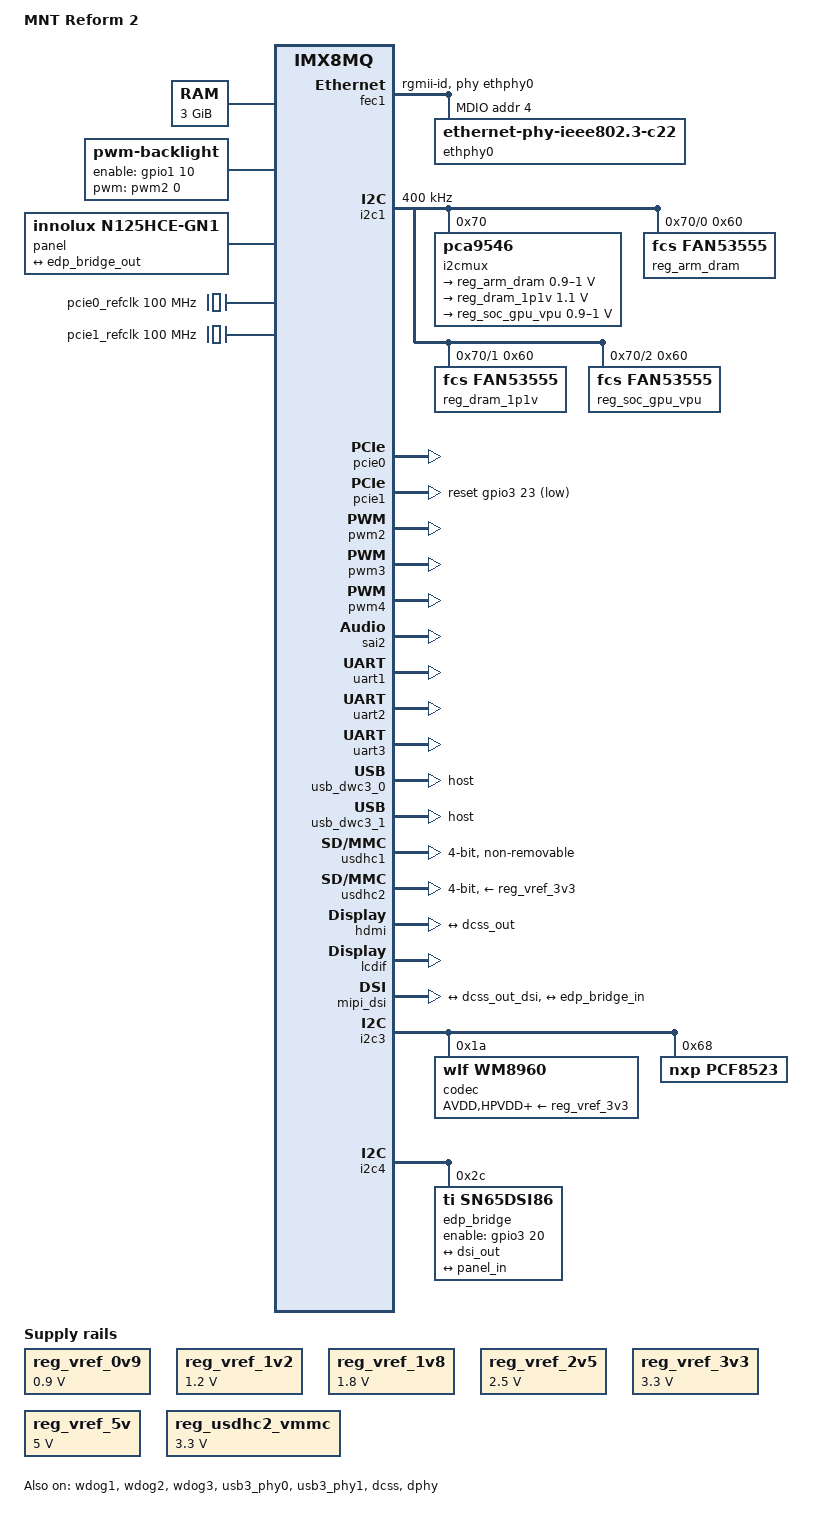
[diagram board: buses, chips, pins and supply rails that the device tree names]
// SPDX-License-Identifier: (GPL-2.0+ OR MIT)
/*
 * Copyright 2018 Boundary Devices
 * Copyright 2019-2020 MNT Research GmbH
 */

/dts-v1/;

#include <dt-bindings/input/input.h>
#include <dt-bindings/pwm/pwm.h>
#include <dt-bindings/usb/pd.h>
#include <dt-bindings/gpio/gpio.h>
#include <dt-bindings/leds/common.h>
#include "imx8mq.dtsi"

/ {
	model = "MNT Reform 2";
	compatible = "boundary,imx8mq-nitrogen8m_som", "fsl,imx8mq";

	memory@40000000 {
		device_type = "memory";
		reg = <0x00000000 0x40000000 0 0xc0000000>;
	};

	sound {
		compatible = "simple-audio-card";
		simple-audio-card,name = "wm8960-audio";
		simple-audio-card,format = "i2s";
		simple-audio-card,frame-master = <&dai_cpu_master>;
		simple-audio-card,bitclock-master = <&dai_cpu_master>;

		status = "okay";

		simple-audio-card,widgets =
			"Microphone", "Mic Jack",
			"Line", "Line In",
			"Line", "Line Out",
			"Speaker", "Speaker",
			"Headphone", "Headphone Jack";
		simple-audio-card,routing =
			"Headphone Jack", "HP_L",
			"Headphone Jack", "HP_R",
			"Speaker", "SPK_LP",
			"Speaker", "SPK_LN",
			"Speaker", "SPK_RP",
			"Speaker", "SPK_RN",
			"LINPUT1", "Mic Jack",
			"LINPUT3", "Mic Jack",
			"RINPUT1", "Mic Jack",
			"RINPUT2", "Mic Jack";

		dai_cpu_master: simple-audio-card,cpu {
			sound-dai = <&sai2>;
		};

		dailink0: simple-audio-card,codec {
			sound-dai = <&codec>;
		};
	};

	backlight: backlight {
		compatible = "pwm-backlight";
		pwms = <&pwm2 0 10000>;
		enable-gpios = <&gpio1 10 GPIO_ACTIVE_HIGH>;
		brightness-levels = <0 32 64 128 160 200 255>;
		default-brightness-level = <6>;
		status = "okay";
	};

	panel: panel {
		compatible = "innolux,n125hce-gn1", "simple-panel";
		// FIXME: why not?
		//backlight = <&backlight>;
		status = "okay";
		no-hpd;
		power = <&reg_vref_3v3>;

		port@0 {
			panel_in: endpoint {
				remote-endpoint = <&edp_bridge_out>;
			};
		};
	};
	
	reg_vref_0v9: regulator-vref-0v9 {
		compatible = "regulator-fixed";
		regulator-name = "vref-0v9";
		regulator-min-microvolt = <900000>;
		regulator-max-microvolt = <900000>;
		regulator-always-on;
	};

	reg_vref_1v2: regulator-vref-1v2 {
		compatible = "regulator-fixed";
		regulator-name = "vref-1v2";
		regulator-min-microvolt = <1200000>;
		regulator-max-microvolt = <1200000>;
		regulator-always-on;
	};
	
	reg_vref_1v8: regulator-vref-1v8 {
		compatible = "regulator-fixed";
		regulator-name = "vref-1v8";
		regulator-min-microvolt = <1800000>;
		regulator-max-microvolt = <1800000>;
		regulator-always-on;
	};

	reg_vref_2v5: regulator-vref-2v5 {
		compatible = "regulator-fixed";
		regulator-name = "vref-2v5";
		regulator-min-microvolt = <2500000>;
		regulator-max-microvolt = <2500000>;
		regulator-always-on;
	};

	reg_vref_3v3: regulator-vref-3v3 {
		compatible = "regulator-fixed";
		regulator-name = "vref-3v3";
		regulator-min-microvolt = <3300000>;
		regulator-max-microvolt = <3300000>;
		regulator-always-on;
	};

	reg_vref_5v: regulator-vref-5v {
		compatible = "regulator-fixed";
		regulator-name = "vref-5v";
		regulator-min-microvolt = <5000000>;
		regulator-max-microvolt = <5000000>;
		regulator-always-on;
	};

	reg_usdhc2_vmmc: regulator-vsd-3v3 {
		pinctrl-names = "default";
		compatible = "regulator-fixed";
		regulator-name = "3V3_SD";
		regulator-min-microvolt = <3300000>;
		regulator-max-microvolt = <3300000>;
		regulator-always-on;
	};
	
	pcie0_refclk: pcie0-refclk {
		compatible = "fixed-clock";
		#clock-cells = <0>;
		clock-frequency = <100000000>;
	};

	pcie1_refclk: pcie1-refclk {
		compatible = "fixed-clock";
		#clock-cells = <0>;
		clock-frequency = <100000000>;
	};

	/*usb_hub_reset {
		compatible = "gpio-leds";
		status = "okay";

		// The TUSB8041 USB Hub on the motherboard needs to get
		// a reset pulse at boot. This is what we do here (200ms).
		led-0 {
			function = LED_FUNCTION_BOOT;
			linux,default-trigger = "one-shot";
			led-pattern = "0 200";
			gpios = <&gpio1 14 GPIO_ACTIVE_LOW>;
		};
	};*/
};

&iomuxc {
	pinctrl-names = "default";
	pinctrl-0 = <&pinctrl_hog>;

	pinctrl_hog: hoggrp {
		fsl,pins = <
		//MX8MQ_IOMUXC_GPIO1_IO10_GPIO1_IO10		0x19	/* Pin 105 */
		MX8MQ_IOMUXC_SAI5_RXC_GPIO3_IO20		0x19 // FIXME what's this?
		MX8MQ_IOMUXC_GPIO1_IO14_GPIO1_IO14		0x56 // pullup usb hub reset (0x40)
		>;
	};

	pinctrl_fec1: fec1grp {
		fsl,pins = <
			MX8MQ_IOMUXC_ENET_MDC_ENET1_MDC			0x3
			MX8MQ_IOMUXC_ENET_MDIO_ENET1_MDIO		0x23
			MX8MQ_IOMUXC_ENET_TX_CTL_ENET1_RGMII_TX_CTL	0x1f
			MX8MQ_IOMUXC_ENET_TXC_ENET1_RGMII_TXC		0x1f
			MX8MQ_IOMUXC_ENET_TD0_ENET1_RGMII_TD0		0x1f
			MX8MQ_IOMUXC_ENET_TD1_ENET1_RGMII_TD1		0x1f
			MX8MQ_IOMUXC_ENET_TD2_ENET1_RGMII_TD2		0x1f
			MX8MQ_IOMUXC_ENET_TD3_ENET1_RGMII_TD3		0x1f
			MX8MQ_IOMUXC_ENET_RX_CTL_ENET1_RGMII_RX_CTL	0x91
			MX8MQ_IOMUXC_ENET_RXC_ENET1_RGMII_RXC		0x91
			MX8MQ_IOMUXC_ENET_RD0_ENET1_RGMII_RD0		0x91
			MX8MQ_IOMUXC_ENET_RD1_ENET1_RGMII_RD1		0x91
			MX8MQ_IOMUXC_ENET_RD2_ENET1_RGMII_RD2		0x91
			MX8MQ_IOMUXC_ENET_RD3_ENET1_RGMII_RD3		0x91
#define GP_FEC1_RESET	<&gpio1 9 GPIO_ACTIVE_LOW>
			MX8MQ_IOMUXC_GPIO1_IO09_GPIO1_IO9		0x19
#define GPIRQ_FEC1_PHY	<&gpio1 11 IRQ_TYPE_LEVEL_LOW>
			MX8MQ_IOMUXC_GPIO1_IO11_GPIO1_IO11		0x59
		>;
	};

	pinctrl_i2c1: i2c1grp {
		fsl,pins = <
			MX8MQ_IOMUXC_I2C1_SCL_I2C1_SCL			0x4000007f
			MX8MQ_IOMUXC_I2C1_SDA_I2C1_SDA			0x4000007f
		>;
	};
	
	pinctrl_i2c1_pca9546: i2c1-pca9546grp {
		fsl,pins = <
#define GP_I2C1_PCA9546_RESET	<&gpio1 4 GPIO_ACTIVE_LOW>
			MX8MQ_IOMUXC_GPIO1_IO04_GPIO1_IO4		0x46
		>;
	};

	pinctrl_i2c2: i2c2grp {
		fsl,pins = <
			MX8MQ_IOMUXC_I2C2_SCL_I2C2_SCL			0x4000007f
			MX8MQ_IOMUXC_I2C2_SDA_I2C2_SDA			0x4000007f
		>;
	};

	pinctrl_i2c3: i2c3grp {
		fsl,pins = <
			MX8MQ_IOMUXC_I2C3_SCL_I2C3_SCL			0x4000007f
			MX8MQ_IOMUXC_I2C3_SDA_I2C3_SDA			0x4000007f
		>;
	};

	pinctrl_i2c4: i2c4grp {
		fsl,pins = <
			MX8MQ_IOMUXC_I2C4_SCL_I2C4_SCL			0x4000007f
			MX8MQ_IOMUXC_I2C4_SDA_I2C4_SDA			0x4000007f
		>;
	};

	pinctrl_pcie0: pcie0grp {
		fsl,pins = <
#define GP_PCIE0_RESET		<&gpio5 7 GPIO_ACTIVE_LOW>
			MX8MQ_IOMUXC_ECSPI1_MOSI_GPIO5_IO7		0x16
		>;
	};
	
	pinctrl_pcie1: pcie1grp {
		fsl,pins = <
			MX8MQ_IOMUXC_SAI5_RXD2_GPIO3_IO23		0x16
		>;
	};

	pinctrl_pwm2: pwm2grp {
		fsl,pins = <
			MX8MQ_IOMUXC_SPDIF_RX_PWM2_OUT			0x16
		>;
	};

	pinctrl_pwm3: pwm3grp {
		fsl,pins = <
			MX8MQ_IOMUXC_SPDIF_TX_PWM3_OUT			0x16
		>;
	};

	pinctrl_pwm4: pwm4grp {
		fsl,pins = <
			MX8MQ_IOMUXC_SAI3_MCLK_PWM4_OUT			0x16
		>;
	};

	pinctrl_reg_arm_dram: reg-arm-dram {
		fsl,pins = <
#define GP_ARM_DRAM_VSEL	<&gpio3 24 GPIO_ACTIVE_HIGH>
			MX8MQ_IOMUXC_SAI5_RXD3_GPIO3_IO24		0x16
		>;
	};

	pinctrl_reg_dram_1p1v: reg-dram-1p1v {
		fsl,pins = <
#define GP_DRAM_1P1_VSEL	<&gpio2 11 GPIO_ACTIVE_HIGH>
			MX8MQ_IOMUXC_SD1_STROBE_GPIO2_IO11		0x16
		>;
	};

	pinctrl_reg_soc_gpu_vpu: reg-soc-gpu-vpu {
		fsl,pins = <
#define GP_SOC_GPU_VPU_VSEL	<&gpio2 20 GPIO_ACTIVE_HIGH>
			MX8MQ_IOMUXC_SD2_WP_GPIO2_IO20			0x16
		>;
	};

	/*pinctrl_sai1: sai1grp {
		fsl,pins = <
			MX8MQ_IOMUXC_SAI1_MCLK_SAI1_MCLK		0xd6
			MX8MQ_IOMUXC_SAI1_TXFS_SAI1_TX_SYNC		0xd6
			MX8MQ_IOMUXC_SAI1_TXC_SAI1_TX_BCLK		0xd6
			MX8MQ_IOMUXC_SAI1_TXD0_SAI1_TX_DATA0		0xd6
			MX8MQ_IOMUXC_SAI1_RXD0_SAI1_RX_DATA0		0xd6
		>;
	};*/

	pinctrl_sai2: sai2grp {
		fsl,pins = <
			MX8MQ_IOMUXC_SAI2_RXD0_SAI2_RX_DATA0		0xd6	/* Pin 166 */
			MX8MQ_IOMUXC_SAI2_RXFS_SAI2_RX_SYNC		0xd6	/* Pin 168 */
			MX8MQ_IOMUXC_SAI2_TXC_SAI2_TX_BCLK		0xd6	/* Pin 170 */
			MX8MQ_IOMUXC_SAI2_TXFS_SAI2_TX_SYNC		0xd6	/* Pin 172 */
			MX8MQ_IOMUXC_SAI2_RXC_SAI2_RX_BCLK		0xd6	/* Pin 174 */
			MX8MQ_IOMUXC_SAI2_MCLK_SAI2_MCLK		0xd6	/* Pin 176 */
			MX8MQ_IOMUXC_SAI2_TXD0_SAI2_TX_DATA0		0xd6	/* Pin 168 */
		>;
	};

	pinctrl_sai3: sai3grp {
		fsl,pins = <
			/* Bluetooth PCM */
			MX8MQ_IOMUXC_SAI3_TXFS_SAI3_TX_SYNC		0xd6
			MX8MQ_IOMUXC_SAI3_TXC_SAI3_TX_BCLK		0xd6
			MX8MQ_IOMUXC_SAI3_TXD_SAI3_TX_DATA0		0xd6
			MX8MQ_IOMUXC_SAI3_RXD_SAI3_RX_DATA0		0xd6
		>;
	};

	pinctrl_uart1: uart1grp {
		fsl,pins = <
			MX8MQ_IOMUXC_UART1_RXD_UART1_DCE_RX		0x45
			MX8MQ_IOMUXC_UART1_TXD_UART1_DCE_TX		0x45
		>;
	};

	pinctrl_uart2: uart2grp {
		fsl,pins = <
			MX8MQ_IOMUXC_UART2_RXD_UART2_DCE_RX		0x45
			MX8MQ_IOMUXC_UART2_TXD_UART2_DCE_TX		0x45
		>;
	};

	pinctrl_uart3: uart3grp {
		fsl,pins = <
			MX8MQ_IOMUXC_UART3_RXD_UART3_DCE_RX		0x45
			MX8MQ_IOMUXC_UART3_TXD_UART3_DCE_TX		0x45
			MX8MQ_IOMUXC_ECSPI1_SS0_UART3_DCE_RTS_B		0x45
			MX8MQ_IOMUXC_ECSPI1_MISO_UART3_DCE_CTS_B	0x45
		>;
	};

	pinctrl_uart4: uart4grp {
		fsl,pins = <
			MX8MQ_IOMUXC_UART4_RXD_UART4_DCE_RX		0x45
			MX8MQ_IOMUXC_UART4_TXD_UART4_DCE_TX		0x45
		>;
	};

	/*pinctrl_usb3_0: usb3-0grp {
		fsl,pins = <
			MX8MQ_IOMUXC_GPIO1_IO13_USB1_OTG_OC		0x16
		>;
	};

	pinctrl_usb3_1: usb3-1grp {
		fsl,pins = <
#define GP_USB3_1_HUB_RESET	<&gpio1 14 GPIO_ACTIVE_LOW>
			MX8MQ_IOMUXC_GPIO1_IO14_GPIO1_IO14		0x16
		>;
	};*/

	pinctrl_usdhc1: usdhc1grp {
		fsl,pins = <
			MX8MQ_IOMUXC_SD1_CLK_USDHC1_CLK			0x83
			MX8MQ_IOMUXC_SD1_CMD_USDHC1_CMD			0xc3
			MX8MQ_IOMUXC_SD1_DATA0_USDHC1_DATA0		0xc3
			MX8MQ_IOMUXC_SD1_DATA1_USDHC1_DATA1		0xc3
			MX8MQ_IOMUXC_SD1_DATA2_USDHC1_DATA2		0xc3
			MX8MQ_IOMUXC_SD1_DATA3_USDHC1_DATA3		0xc3
			MX8MQ_IOMUXC_SD1_DATA4_USDHC1_DATA4		0xc3
			MX8MQ_IOMUXC_SD1_DATA5_USDHC1_DATA5		0xc3
			MX8MQ_IOMUXC_SD1_DATA6_USDHC1_DATA6		0xc3
			MX8MQ_IOMUXC_SD1_DATA7_USDHC1_DATA7		0xc3
#if 0
			MX8MQ_IOMUXC_SD1_RESET_B_USDHC1_RESET_B		0xc1
#else
#define GP_EMMC_RESET		<&gpio2 10 GPIO_ACTIVE_LOW>
			MX8MQ_IOMUXC_SD1_RESET_B_GPIO2_IO10		0x41
#endif
		>;
	};

	pinctrl_usdhc1_100mhz: usdhc1grp100mhz {
		fsl,pins = <
			MX8MQ_IOMUXC_SD1_CLK_USDHC1_CLK			0x8d
			MX8MQ_IOMUXC_SD1_CMD_USDHC1_CMD			0xcd
			MX8MQ_IOMUXC_SD1_DATA0_USDHC1_DATA0		0xcd
			MX8MQ_IOMUXC_SD1_DATA1_USDHC1_DATA1		0xcd
			MX8MQ_IOMUXC_SD1_DATA2_USDHC1_DATA2		0xcd
			MX8MQ_IOMUXC_SD1_DATA3_USDHC1_DATA3		0xcd
			MX8MQ_IOMUXC_SD1_DATA4_USDHC1_DATA4		0xcd
			MX8MQ_IOMUXC_SD1_DATA5_USDHC1_DATA5		0xcd
			MX8MQ_IOMUXC_SD1_DATA6_USDHC1_DATA6		0xcd
			MX8MQ_IOMUXC_SD1_DATA7_USDHC1_DATA7		0xcd
		>;
	};

	pinctrl_usdhc1_200mhz: usdhc1grp200mhz {
		fsl,pins = <
			MX8MQ_IOMUXC_SD1_CLK_USDHC1_CLK			0x9f
			MX8MQ_IOMUXC_SD1_CMD_USDHC1_CMD			0xdf
			MX8MQ_IOMUXC_SD1_DATA0_USDHC1_DATA0		0xdf
			MX8MQ_IOMUXC_SD1_DATA1_USDHC1_DATA1		0xdf
			MX8MQ_IOMUXC_SD1_DATA2_USDHC1_DATA2		0xdf
			MX8MQ_IOMUXC_SD1_DATA3_USDHC1_DATA3		0xdf
			MX8MQ_IOMUXC_SD1_DATA4_USDHC1_DATA4		0xdf
			MX8MQ_IOMUXC_SD1_DATA5_USDHC1_DATA5		0xdf
			MX8MQ_IOMUXC_SD1_DATA6_USDHC1_DATA6		0xdf
			MX8MQ_IOMUXC_SD1_DATA7_USDHC1_DATA7		0xdf
		>;
	};

	pinctrl_usdhc2: usdhc2grp {
		fsl,pins = <
			MX8MQ_IOMUXC_SD2_CLK_USDHC2_CLK			0x03
			MX8MQ_IOMUXC_SD2_CMD_USDHC2_CMD			0xc3
			MX8MQ_IOMUXC_SD2_DATA0_USDHC2_DATA0		0xc3
			MX8MQ_IOMUXC_SD2_DATA1_USDHC2_DATA1		0xc3
			MX8MQ_IOMUXC_SD2_DATA2_USDHC2_DATA2		0xc3
			MX8MQ_IOMUXC_SD2_DATA3_USDHC2_DATA3		0xc3
			//MX8MQ_IOMUXC_GPIO1_IO00_ANAMIX_REF_CLK_32K	0x03
		>;
	};

	pinctrl_usdhc2_100mhz: usdhc2grp100mhz {
		fsl,pins = <
			MX8MQ_IOMUXC_SD2_CLK_USDHC2_CLK			0x0d
			MX8MQ_IOMUXC_SD2_CMD_USDHC2_CMD			0xcd
			MX8MQ_IOMUXC_SD2_DATA0_USDHC2_DATA0		0xcd
			MX8MQ_IOMUXC_SD2_DATA1_USDHC2_DATA1		0xcd
			MX8MQ_IOMUXC_SD2_DATA2_USDHC2_DATA2		0xcd
			MX8MQ_IOMUXC_SD2_DATA3_USDHC2_DATA3		0xcd
		>;
	};

	pinctrl_usdhc2_200mhz: usdhc2grp200mhz {
		fsl,pins = <
			MX8MQ_IOMUXC_SD2_CLK_USDHC2_CLK			0x1e
			MX8MQ_IOMUXC_SD2_CMD_USDHC2_CMD			0xce
			MX8MQ_IOMUXC_SD2_DATA0_USDHC2_DATA0		0xce
			MX8MQ_IOMUXC_SD2_DATA1_USDHC2_DATA1		0xce
			MX8MQ_IOMUXC_SD2_DATA2_USDHC2_DATA2		0xce
			MX8MQ_IOMUXC_SD2_DATA3_USDHC2_DATA3		0xce
		>;
	};

	pinctrl_wdog: wdoggrp {
		fsl,pins = <
			MX8MQ_IOMUXC_GPIO1_IO02_WDOG1_WDOG_B		0xc6
		>;
	};
};

&wdog1 {
	status = "okay";
};

&wdog2 {
	status = "okay";
};

&wdog3 {
	status = "okay";
};

&fec1 {
	pinctrl-names = "default";
	pinctrl-0 = <&pinctrl_fec1>;
	phy-mode = "rgmii-id";
	phy-handle = <&ethphy0>;
	//phy-reset-gpios = GP_FEC1_RESET;
	//phy-reset-duration = <10>;
	fsl,magic-packet;
	status = "okay";

	mdio {
		#address-cells = <1>;
		#size-cells = <0>;

		ethphy0: ethernet-phy@4 {
			compatible = "ethernet-phy-ieee802.3-c22";
			reg = <4>;
			//at803x,vddio-1p8v;
			interrupts = GPIRQ_FEC1_PHY;
			//max-speed = <100>;
		};
	};
};

&i2c1 {
	clock-frequency = <400000>;
	pinctrl-names = "default";
	pinctrl-0 = <&pinctrl_i2c1>;
	status = "okay";

	// I2C Mux on Nitrogen8M_SOM
	i2cmux@70 {
		compatible = "pca9546";
		pinctrl-names = "default";
		pinctrl-0 = <&pinctrl_i2c1_pca9546>;
		reg = <0x70>;
		reset-gpios = GP_I2C1_PCA9546_RESET;
		#address-cells = <1>;
		#size-cells = <0>;

		i2c1a: i2c1@0 {
			reg = <0>;
			#address-cells = <1>;
			#size-cells = <0>;
		};

		i2c1b: i2c1@1 {
			reg = <1>;
			#address-cells = <1>;
			#size-cells = <0>;
		};

		i2c1c: i2c1@2 {
			reg = <2>;
			#address-cells = <1>;
			#size-cells = <0>;
		};

		i2c1d: i2c1@3 {
			reg = <3>;
			#address-cells = <1>;
			#size-cells = <0>;
		};
	};
};

&i2c1a {
	// Regulator on Nitrogen8M_SOM
	reg_arm_dram: fan53555@60 {
		compatible = "fcs,fan53555";
		pinctrl-names = "default";
		pinctrl-0 = <&pinctrl_reg_arm_dram>;
		reg = <0x60>;
		regulator-min-microvolt =	 <900000>;
		regulator-max-microvolt = <1000000>;
		regulator-ramp-delay = <8000>;
		regulator-always-on;
		vsel-gpios = GP_ARM_DRAM_VSEL;
	};
};

&A53_0 {
	cpu-supply = <&reg_arm_dram>;
};

&A53_1 {
	cpu-supply = <&reg_arm_dram>;
};

&A53_2 {
	cpu-supply = <&reg_arm_dram>;
};

&A53_3 {
	cpu-supply = <&reg_arm_dram>;
};

&i2c1b {
	// Regulator on Nitrogen8M_SOM
	reg_dram_1p1v: fan53555@60 {
		compatible = "fcs,fan53555";
		pinctrl-names = "default";
		pinctrl-0 = <&pinctrl_reg_dram_1p1v>;
		reg = <0x60>;
		regulator-min-microvolt = <1100000>;
		regulator-max-microvolt = <1100000>;
		regulator-ramp-delay = <8000>;
		regulator-always-on;
		vsel-gpios = GP_DRAM_1P1_VSEL;
	};
};

&i2c1c {
	// Regulator on Nitrogen8M_SOM
	reg_soc_gpu_vpu: fan53555@60 {
		compatible = "fcs,fan53555";
		pinctrl-names = "default";
		pinctrl-0 = <&pinctrl_reg_soc_gpu_vpu>;
		reg = <0x60>;
		regulator-min-microvolt =	 <900000>;
		regulator-max-microvolt = <1000000>;
		regulator-ramp-delay = <8000>;
		regulator-always-on;
		vsel-gpios = GP_SOC_GPU_VPU_VSEL;
	};
};

&pcie0 {
	pinctrl-names = "default";
	pinctrl-0 = <&pinctrl_pcie0>;
	reset-gpio = GP_PCIE0_RESET;

	clocks = <&clk IMX8MQ_CLK_PCIE1_ROOT>,
		<&clk IMX8MQ_CLK_PCIE1_AUX>,
		<&clk IMX8MQ_CLK_PCIE1_PHY>,
		<&pcie0_refclk>;
	
	clock-names = "pcie", "pcie_aux", "pcie_phy", "pcie_bus";
	
	ext_osc = <0>;
	status = "okay";
};

&pcie1 {
	pinctrl-names = "default";
	pinctrl-0 = <&pinctrl_pcie1>;
	reset-gpio = <&gpio3 23 GPIO_ACTIVE_LOW>;

	clocks = <&clk IMX8MQ_CLK_PCIE2_ROOT>,
					 <&clk IMX8MQ_CLK_PCIE2_AUX>,
					 <&clk IMX8MQ_CLK_PCIE2_PHY>,
					 <&pcie1_refclk>;
	
	clock-names = "pcie", "pcie_aux", "pcie_phy", "pcie_bus";
	
	ext_osc = <1>;
	status = "okay";
};

&pwm2 {
	pinctrl-names = "default";
	pinctrl-0 = <&pinctrl_pwm2>;
	status = "okay";
};

&pwm3 {
	pinctrl-names = "default";
	pinctrl-0 = <&pinctrl_pwm3>;
	status = "okay";
};

// Backlight control
&pwm4 {
	pinctrl-names = "default";
	pinctrl-0 = <&pinctrl_pwm4>;
	status = "okay";
};

&sai2 {
	pinctrl-names = "default";
	pinctrl-0 = <&pinctrl_sai2>;
	status = "okay";
	
	assigned-clocks = <&clk IMX8MQ_CLK_SAI2>;
	assigned-clock-parents = <&clk IMX8MQ_AUDIO_PLL2_OUT>;
	assigned-clock-rates = <12288000>;
};

&uart1 { /* console */
	pinctrl-names = "default";
	pinctrl-0 = <&pinctrl_uart1>;
	assigned-clocks = <&clk IMX8MQ_CLK_UART1>;
	assigned-clock-parents = <&clk IMX8MQ_CLK_25M>;
	status = "okay";
};

&uart2 {
	pinctrl-names = "default";
	pinctrl-0 = <&pinctrl_uart2>;
	assigned-clocks = <&clk IMX8MQ_CLK_UART2>;
	assigned-clock-parents = <&clk IMX8MQ_CLK_25M>;
	status = "okay";
};

&uart3 {
	pinctrl-names = "default";
	pinctrl-0 = <&pinctrl_uart3>;
	assigned-clocks = <&clk IMX8MQ_CLK_UART3>;
	assigned-clock-parents = <&clk IMX8MQ_CLK_25M>;
	status = "okay";
};

&usb3_phy0 {
	vbus-supply = <&reg_vref_5v>;
	status = "okay";
};

&usb_dwc3_0 {
	status = "okay";
	dr_mode = "host";
};

&usb3_phy1 {
	vbus-supply = <&reg_vref_5v>;
	status = "okay";
};

&usb_dwc3_1 {
	status = "okay";
	dr_mode = "host";
};

// eMMC on Nitrogen8M_SOM
&usdhc1 {
	bus-width = <4>;
	//fsl,strobe-dll-delay-target = <5>;
	//fsl,tuning-start-tap = <63>;
	//fsl,tuning-step = <2>;
	no-mmc-hs400;
	non-removable;
	pinctrl-names = "default", "state_100mhz", "state_200mhz";
	pinctrl-0 = <&pinctrl_usdhc1>;
	pinctrl-1 = <&pinctrl_usdhc1_100mhz>;
	pinctrl-2 = <&pinctrl_usdhc1_200mhz>;
	status = "okay";
	//cd-gpios = <&gpio1 3 GPIO_ACTIVE_HIGH>;
	//vmmc-supply = <&reg_vref_1v8>;
	//vqmmc-1-8-v;
};

// SD Card on motherboard
&usdhc2 {
	bus-width = <4>;
	// doesn't seem to make any difference
	//fsl,tuning-start-tap = <32>;
	
	// 1 can make tuning fail, 2 works on some cards, 3 same, 5 same
	//fsl,tuning-step = <2>;
	
	// 1 = no difference, 16 = no difference, 128 = no difference
	//fsl,delay-line = <0>;

	// this makes microSD cards stop working
	no-1-8-v;

	// changing these around breaks tuning
	pinctrl-names = "default", "state_100mhz", "state_200mhz";
	pinctrl-0 = <&pinctrl_usdhc2>;
	pinctrl-1 = <&pinctrl_usdhc2_100mhz>;
	pinctrl-2 = <&pinctrl_usdhc2_200mhz>;
	status = "okay";
	vmmc-supply = <&reg_vref_3v3>;
	//no-sd-uhs-sdr104;

	//assigned-clocks = <&clk IMX8MQ_CLK_USDHC2>;
	//assigned-clock-rates = <200000000>;
};

&hdmi {
	compatible = "cdn,imx8mq-hdmi";
	lane-mapping = <0xe4>; // 0=0, 1=1, 2=2, 3=3 (no swapping)
	status = "okay";

	port@1 {
		hdmi_in: endpoint {
			remote-endpoint = <&dcss_out>;
		};
	};
};

// Note: don't forget to adjust the clock factor in dcss-crtc.c!
&dcss {
	status = "okay";

	clocks = <&clk IMX8MQ_CLK_DISP_APB_ROOT>,
	<&clk IMX8MQ_CLK_DISP_AXI_ROOT>,
	<&clk IMX8MQ_CLK_DISP_RTRM_ROOT>,
	<&clk IMX8MQ_VIDEO2_PLL_OUT>, // HDMI
	<&clk IMX8MQ_CLK_DC_PIXEL>, // DSI
	<&clk IMX8MQ_CLK_DISP_DTRC>,
	<&clk IMX8MQ_VIDEO2_PLL1_REF_SEL>,
	<&clk IMX8MQ_CLK_PHY_27MHZ>;
	clock-names = "apb", "axi", "rtrm", "pix", "pix2", "dtrc", "pll_src", "pll_phy_ref";

	assigned-clocks =
	<&clk IMX8MQ_CLK_DC_PIXEL>,
	<&clk IMX8MQ_VIDEO_PLL1_BYPASS>,
	<&clk IMX8MQ_VIDEO_PLL1_REF_SEL>,
	<&clk IMX8MQ_CLK_DISP_AXI>,
	<&clk IMX8MQ_CLK_DISP_RTRM>;
	//<&clk IMX8MQ_VIDEO2_PLL1_REF_SEL>;

	assigned-clock-parents =
	<&clk IMX8MQ_VIDEO_PLL1_OUT>,
	<&clk IMX8MQ_VIDEO_PLL1>,
	<&clk IMX8MQ_CLK_25M>, // 27M makes the internal display flicker!
	<&clk IMX8MQ_SYS1_PLL_800M>,
	<&clk IMX8MQ_SYS1_PLL_800M>;
	//<&clk IMX8MQ_CLK_27M>; // this freezes with IMX8MQ_CLK_PHY_27MHZ	 IMX8MQ_CLK_27M
	assigned-clock-rates =
	<594000000>,
	<0>,
	<0>,
	<800000000>,
	<400000000>;
	
	port@0 {
		reg = <0>;
		dcss_out_dsi: endpoint {
			remote-endpoint = <&mipi_dsi_in>;
		};
	};

	port@1 {
		reg = <1>;
		dcss_out: endpoint {
			//remote-endpoint = <&mipi_dsi_in>;
			remote-endpoint = <&hdmi_in>;
		};
	};
};

// LCDIF is not used, but has to be active or DCSS (or DSI?) won't work
&lcdif {
	status = "okay";
	
	/*port@0 {
		lcdif_mipi_dsi: endpoint {
			remote-endpoint = <&mipi_dsi_in>;
		};
	};*/
};

&dphy {
	status = "okay";
};

&mipi_dsi {
	status = "okay";
	
	ports {
		#address-cells = <1>;
		#size-cells = <0>;

		port@0 {
			#address-cells = <1>;
			#size-cells = <0>;
			reg = <0>;
			
			mipi_dsi_in: endpoint@1 { // @1 for dcss?
				reg = <1>;
				remote-endpoint = <&dcss_out_dsi>;
				//reg = <0>;
				//remote-endpoint = <&lcdif_mipi_dsi>;
			};
		};
		port@1 {
			reg = <1>;
			dsi_out: endpoint {
				remote-endpoint = <&edp_bridge_in>;
			};
		};
	};
};

&i2c3 {
	pinctrl-names = "default";
	pinctrl-0 = <&pinctrl_i2c3>;
	status = "okay";
	
	// Audio chip on motherboard
	codec: wm8960@1a {
		compatible = "wlf,wm8960";
		reg = <0x1a>;
		clocks = <&clk IMX8MQ_CLK_SAI2>;
		clock-names = "mclk";
		#sound-dai-cells = <0>;
		
		AVDD-supply = <&reg_vref_3v3>;
		HPVDD-supply = <&reg_vref_3v3>;
		DCVDD-supply = <&reg_vref_3v3>;
		DBVDD-supply = <&reg_vref_3v3>;
	};

	// Realtime clock chip on motherboard
	pcf8523: pcf8523@68 {
		compatible = "nxp,pcf8523";
		reg = <0x68>;
		status = "okay";
	};
};

&i2c4 {
	pinctrl-names = "default";
	pinctrl-0 = <&pinctrl_i2c4>;
	status = "okay";
	
	// DSI to eDP converter on motherboard
	edp_bridge: sn65dsi86@2c {
		compatible = "ti,sn65dsi86";
		reg = <0x2c>;
		status = "okay";
		enable-gpios = <&gpio3 20 GPIO_ACTIVE_HIGH>;

		ports {
			#address-cells = <1>;
			#size-cells = <0>;

			port@0 {
				reg = <0>;

				edp_bridge_in: endpoint {
					remote-endpoint = <&dsi_out>;
				};
			};

			port@1 {
				reg = <1>;

				edp_bridge_out: endpoint {
					//data-lanes = <2 1 3 0>;
					//lane-polarities = <0 1 0 1>;
					remote-endpoint = <&panel_in>;
				};
			};
		};
	};
};
